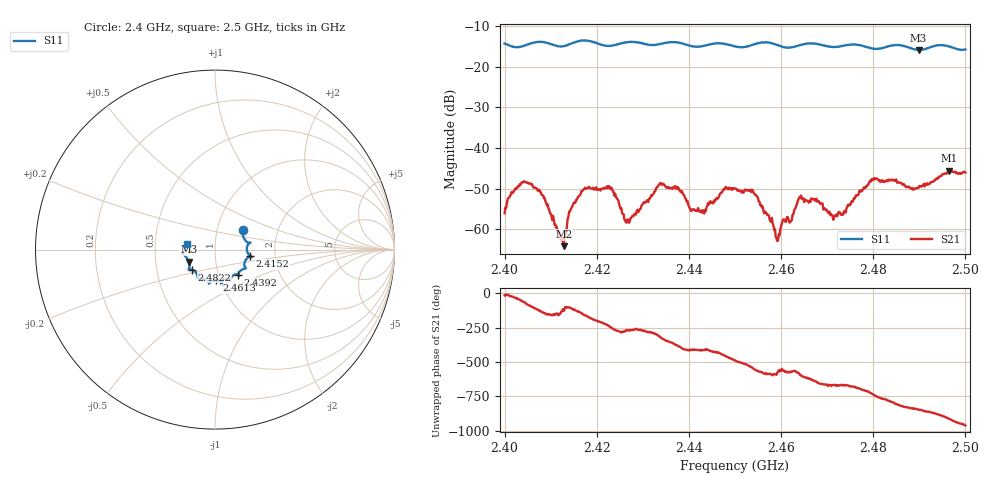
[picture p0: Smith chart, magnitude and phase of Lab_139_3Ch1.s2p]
# Hz S RI R 50
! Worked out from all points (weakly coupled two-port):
!   601 points, 2.4 GHz to 2.5 GHz, reference 50 ohm
!   highest |S21| = -45.59 dB at 2.4965 GHz (marker M1); lowest = -64.1 dB at 2.4128 GHz (marker M2)
!   lowest |S11| = -15.9 dB at 2.4898 GHz (marker M3), VSWR 1.38, Z = 37 - j5.05 ohm
!   |S11| at or under -10 dB: start of sweep to end of sweep
!   S12 and S22 are empty: the file has one direction only
!   S11 on the Smith chart (normalised r, x): 2.4 GHz: 1.33, +0.31; 2.4152 GHz: 1.48, -0.11; 2.4392 GHz: 1.23, -0.36; 2.4613 GHz: 0.96, -0.34; 2.4822 GHz: 0.76, -0.17; 2.5 GHz: 0.72, +0.05
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2.4e9  0.1567 0.1114  0.00154 -0.000363  0 0  0 0
2.4055e9  0.1876 0.0374  -3.9e-05 -0.00369  0 0  0 0
2.412833e9  0.1783 -0.00656  -0.000379 -0.000494  0 0  0 0
2.415167e9  0.195 -0.0357  -0.000976 -0.00192  0 0  0 0
2.416667e9  0.2044 -0.0417  -0.0024 -0.00172  0 0  0 0
2.423e9  0.1645 -0.0727  -0.00129 0.00284  0 0  0 0
2.426667e9  0.171 -0.1032  -7.43e-05 0.00133  0 0  0 0
2.433333e9  0.1329 -0.1325  0.00206 0.00278  0 0  0 0
2.439167e9  0.1269 -0.1388  0.00161 -0.00183  0 0  0 0
2.442833e9  0.0914 -0.1527  0.000933 -0.00131  0 0  0 0
2.45e9  0.0687 -0.1636  -0.00195 -0.00251  0 0  0 0
2.454167e9  0.035 -0.1845  -0.0027 0.000603  0 0  0 0
2.459167e9  0.0329 -0.1814  -0.000562 0.000451  0 0  0 0
2.461333e9  0.00783 -0.1707  -0.00115 0.000843  0 0  0 0
2.464167e9  -0.0277 -0.1821  -0.00135 0.00203  0 0  0 0
2.466667e9  -0.0331 -0.1902  -0.00016 0.00239  0 0  0 0
2.471667e9  -0.0613 -0.1629  0.000884 0.00114  0 0  0 0
2.482167e9  -0.1282 -0.1119  0.00254 -0.00285  0 0  0 0
2.483333e9  -0.1395 -0.1103  0.00201 -0.00356  0 0  0 0
2.489833e9  -0.1459 -0.0665  -0.00193 -0.0026  0 0  0 0
2.4965e9  -0.176 -0.0153  -0.00509 0.00128  0 0  0 0
2.5e9  -0.1587 0.0337  -0.0024 0.00438  0 0  0 0
